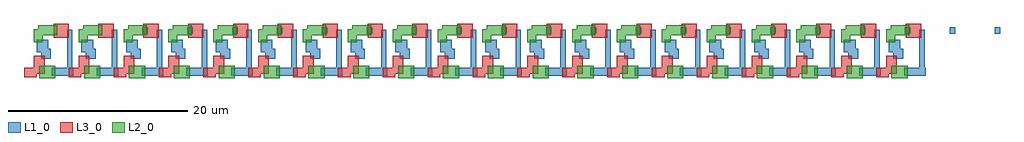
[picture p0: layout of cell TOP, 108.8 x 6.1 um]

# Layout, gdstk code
from math import pi, radians
import gdstk
lib = gdstk.Library(unit=1e-6, precision=1e-09)
def R(c, l, rs):  # rectangles x0, y0, x1, y1
    for r in rs: c.add(gdstk.rectangle(r[:2], r[2:], *l))
L1_0 = (1, 0)
L2_0 = (2, 0)
L3_0 = (3, 0)

c_c1 = lib.new_cell('C1')
R(c_c1, L1_0, [(2,-11.6,2.7,-11), (-2.7,-3.3,-1.8,-0.9), (-2.1,-3.2,2.4,-2.6), (-0.8,-0.8,0.3,0.3), (-0.1,-0.5,1.3,0.8)])
R(c_c1, L2_0, [(1.8,-1.5,2.9,0.6), (-3,-1.3,-1.6,0.5), (1,0.1,2.5,1.1)])
R(c_c1, L3_0, [(1.5,-2.8,3.1,-1.1), (-2.5,-0.1,-0.5,1.1), (-2.9,0.8,-1.8,2.2)])

top = lib.new_cell('TOP')
r = gdstk.Reference(c_c1, (89.1,3.5), rotation=pi/2); r.repetition = gdstk.Repetition(1, 20, v1=(0,0), v2=(-5,0)); top.add(r)

lib.write_gds('TOP.gds')
